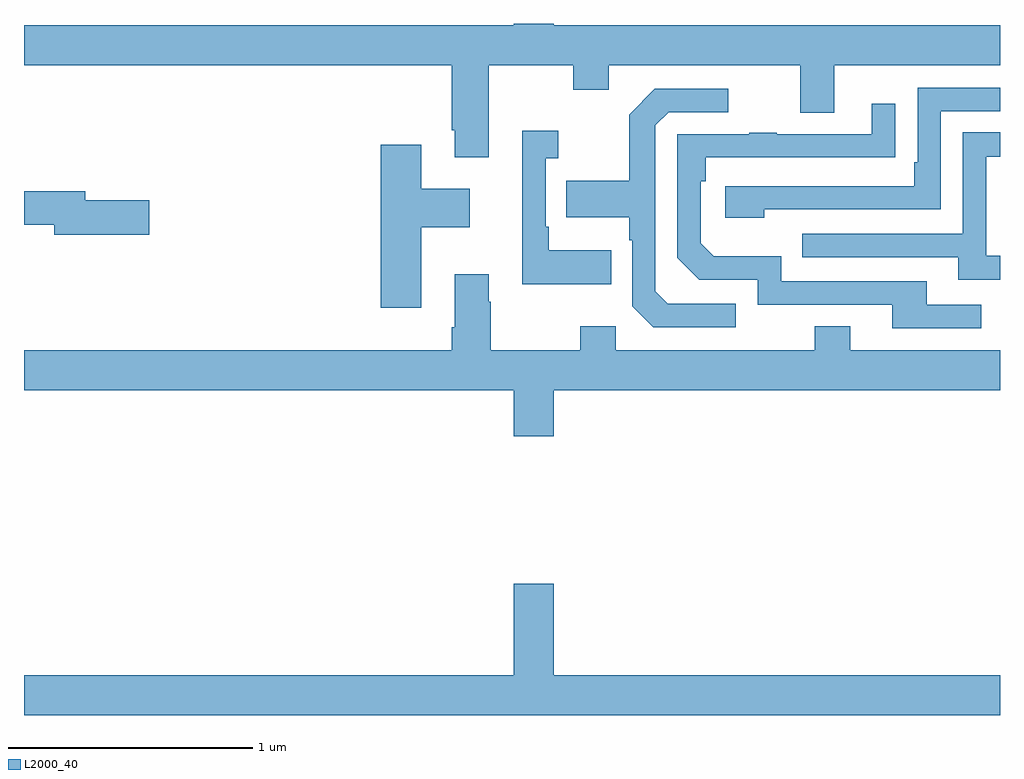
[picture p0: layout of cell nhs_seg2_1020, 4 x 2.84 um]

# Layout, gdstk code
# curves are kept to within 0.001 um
import gdstk
lib = gdstk.Library(unit=1e-6, precision=1e-09)
def P(c, l, *ps):  # polygons
    for p in ps: c.add(gdstk.Polygon(p, *l))
L2000_40 = (2000, 40)

nhs_seg2_1020 = lib.new_cell('nhs_seg2_1020')
P(nhs_seg2_1020, L2000_40, [(164.905,655.628),(165.25,655.628),(165.25,655.529),(165.397,655.529),(165.397,655.628),(166.181,655.628),(166.181,655.434),(166.321,655.434),(166.321,655.628),(167,655.628),(167,655.792),(165.172,655.792),(165.172,655.8),(165.008,655.8),(165.008,655.792),(163,655.792),(163,655.628),(164.753,655.628),(164.753,655.363),(164.765,655.363),(164.765,655.251),(164.905,655.251)],
  [(166.034,655.038),(166.758,655.038),(166.758,655.44),(167,655.44),(167,655.536),(166.662,655.536),(166.662,655.231),(166.649,655.231),(166.649,655.134),(165.873,655.134),(165.873,655.004),(166.034,655.004)],
  [(165.916,654.651),(165.639,654.651),(165.588,654.702),(165.588,655.383),(165.642,655.437),(165.886,655.437),(165.886,655.533),(165.585,655.533),(165.48,655.427),(165.48,655.155),(165.223,655.155),(165.223,655.007),(165.48,655.007),(165.48,654.911),(165.492,654.911),(165.492,654.642),(165.579,654.555),(165.916,654.555)],
  [(166.924,654.648),(166.699,654.648),(166.699,654.744),(166.104,654.744),(166.104,654.847),(165.827,654.847),(165.774,654.9),(165.774,655.154),(165.794,655.154),(165.794,655.251),(166.571,655.252),(166.571,655.471),(166.475,655.471),(166.475,655.347),(166.085,655.347),(166.085,655.352),(165.973,655.352),(165.973,655.347),(165.678,655.347),(165.678,654.84),(165.768,654.75),(166.008,654.75),(166.008,654.648),(166.559,654.648),(166.559,654.552),(166.924,654.552)],
  [(165.407,654.871),(165.151,654.871),(165.151,654.967),(165.138,654.967),(165.138,655.247),(165.19,655.247),(165.19,655.36),(165.041,655.36),(165.041,654.731),(165.407,654.731)],
  [(167,654.849),(166.944,654.849),(166.944,655.254),(167,655.254),(167,655.355),(166.848,655.355),(166.848,654.939),(166.189,654.939),(166.189,654.843),(166.829,654.843),(166.829,654.749),(167,654.749)],
  [(164.629,654.965),(164.827,654.965),(164.827,655.123),(164.629,655.123),(164.629,655.303),(164.462,655.303),(164.462,654.636),(164.629,654.636)],
  [(163.513,655.076),(163.252,655.076),(163.252,655.112),(163,655.112),(163,654.976),(163.124,654.976),(163.124,654.934),(163.513,654.934)],
  [(165.172,654.296),(167,654.296),(167,654.46),(166.387,654.46),(166.387,654.559),(166.24,654.559),(166.24,654.46),(165.426,654.46),(165.426,654.559),(165.28,654.559),(165.28,654.46),(164.913,654.46),(164.913,654.659),(164.905,654.659),(164.905,654.772),(164.765,654.772),(164.765,654.556),(164.753,654.556),(164.753,654.46),(163,654.46),(163,654.296),(165.008,654.296),(165.008,654.108),(165.172,654.108)],
  [(167,653.128),(165.172,653.128),(165.172,653.503),(165.008,653.503),(165.008,653.128),(163,653.128),(163,652.964),(167,652.964)])

lib.write_gds('nhs_seg2_1020.gds')
